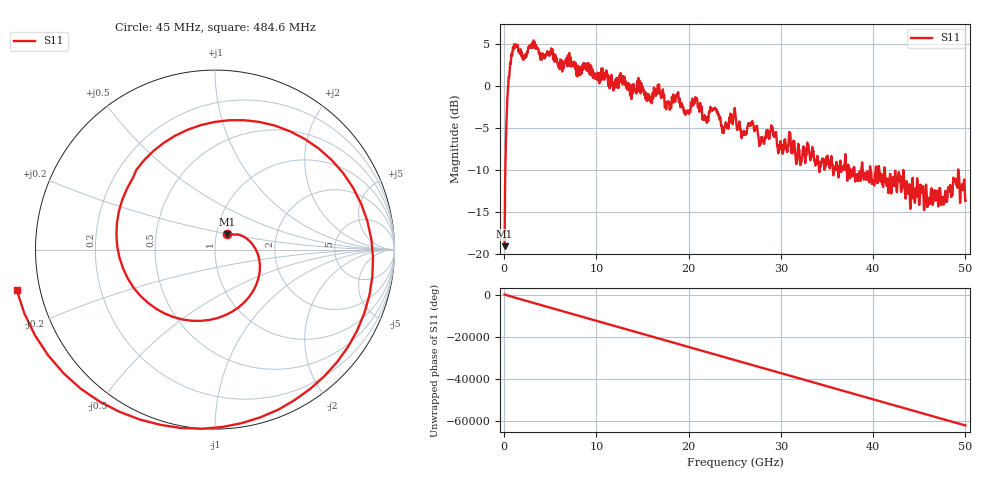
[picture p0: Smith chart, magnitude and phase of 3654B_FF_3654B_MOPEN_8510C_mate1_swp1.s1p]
!Created with skrf (http://scikit-rf.org).
# Hz S RI R 50.0
!freq ReS11 ImS11
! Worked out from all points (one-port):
!   10001 points, 45 MHz to 50 GHz, reference 50 ohm
!   lowest |S11| = -19.1 dB at 45 MHz (marker M1), VSWR 1.25, Z = 56.5 + j9.99 ohm
!   |S11| at or under -10 dB: 38.86 GHz to 39.64 GHz (774.3 MHz wide, 1.97 % of centre); 41.28 GHz to 43.28 GHz (1.998 GHz wide, 4.73 % of centre); 43.28 GHz to 49.22 GHz (5.939 GHz wide, 12.8 % of centre) (the widest 3 of 20)
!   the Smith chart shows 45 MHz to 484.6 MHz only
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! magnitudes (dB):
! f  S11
! 45 MHz  -19.1
! 434.6 MHz  0.1
! 1.024 GHz  4.4
! 2.193 GHz  3.6
! 3.242 GHz  4.6
! 6.289 GHz  1.7
! 12.53 GHz  0.5
! 15.81 GHz  -1.3
! 16.72 GHz  -0.4
! 17.76 GHz  -1.8
! 18.78 GHz  -1.1
! 19.83 GHz  -3.1
! 20.76 GHz  -1.4
! 21.75 GHz  -3.5
! 22.83 GHz  -2.7
! 23.73 GHz  -5.4
! 25.02 GHz  -2.8
! 25.93 GHz  -5.5
! 26.76 GHz  -4.5
! 27.84 GHz  -6.6
! 29.04 GHz  -5.1
! 29.93 GHz  -6.7
! 31.27 GHz  -7.9
! 37.51 GHz  -11.0
! 43.76 GHz  -12.2
! 47.55 GHz  -13.4
! 49.1 GHz  -11.7
! 50 GHz  -13.7
